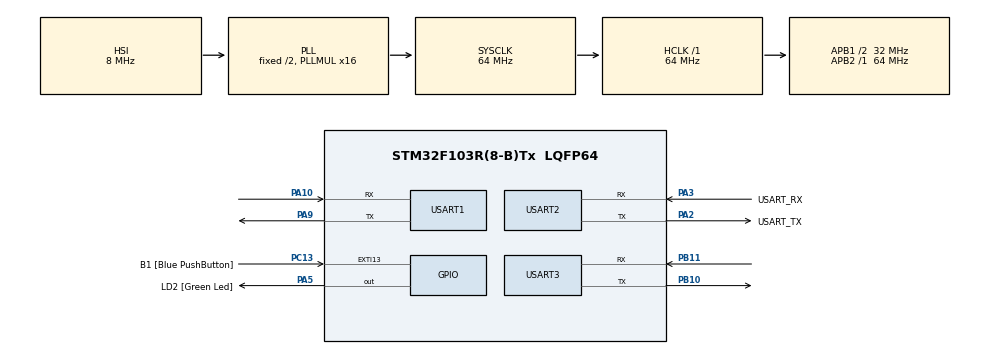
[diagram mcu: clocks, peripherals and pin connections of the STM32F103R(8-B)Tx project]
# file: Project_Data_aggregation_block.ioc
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Dma.Request0=USART1_RX
Dma.Request1=USART2_RX
Dma.USART1_RX.0.Direction=DMA_PERIPH_TO_MEMORY
Dma.USART1_RX.0.Instance=DMA1_Channel5
Dma.USART1_RX.0.MemDataAlignment=DMA_MDATAALIGN_BYTE
Dma.USART1_RX.0.MemInc=DMA_MINC_ENABLE
Dma.USART1_RX.0.Mode=DMA_NORMAL
Dma.USART1_RX.0.PeriphDataAlignment=DMA_PDATAALIGN_BYTE
Dma.USART1_RX.0.PeriphInc=DMA_PINC_DISABLE
Dma.USART1_RX.0.Priority=DMA_PRIORITY_LOW
Dma.USART2_RX.1.Direction=DMA_PERIPH_TO_MEMORY
Dma.USART2_RX.1.Instance=DMA1_Channel6
Dma.USART2_RX.1.MemDataAlignment=DMA_MDATAALIGN_BYTE
Dma.USART2_RX.1.MemInc=DMA_MINC_ENABLE
Dma.USART2_RX.1.Mode=DMA_NORMAL
Dma.USART2_RX.1.PeriphDataAlignment=DMA_PDATAALIGN_BYTE
Dma.USART2_RX.1.PeriphInc=DMA_PINC_DISABLE
Dma.USART2_RX.1.Priority=DMA_PRIORITY_LOW
FREERTOS.Queues01=UARTQueue,10,QUEUE_t,0,Static,UARTQueueBuffer,UARTQueueControlBlock
FREERTOS.Tasks01=defaultTask,24,128,StartDefaultTask,Default,NULL,Dynamic,NULL,NULL;UART1Task,8,128,StartUART1Task,Default,NULL,Static,UART1TaskBuffer,UART1TaskControlBlock;UART2Task,8,128,StartUART2Task,Default,NULL,Static,UART2TaskBuffer,UART2TaskControlBlock;UART3Task,8,128,StartUART3Task,Default,NULL,Static,UART3TaskBuffer,UART3TaskControlBlock
FREERTOS.configTOTAL_HEAP_SIZE=4096
Mcu.Family=STM32F1
Mcu.Name=STM32F103R(8-B)Tx
Mcu.Package=LQFP64
NVIC.DMA1_Channel5_IRQn=true\:5\:0\:false\:false\:true\:true\:false\:true\:true
NVIC.DMA1_Channel6_IRQn=true\:5\:0\:false\:false\:true\:true\:false\:true\:true
NVIC.EXTI15_10_IRQn=true\:5\:0\:false\:false\:true\:true\:true\:true\:true
NVIC.PriorityGroup=NVIC_PRIORITYGROUP_4
NVIC.TIM4_IRQn=true\:15\:0\:false\:false\:true\:false\:false\:true\:true
NVIC.TimeBase=TIM4_IRQn
NVIC.TimeBaseIP=TIM4
NVIC.USART1_IRQn=true\:5\:0\:false\:false\:true\:true\:true\:true\:true
NVIC.USART2_IRQn=true\:5\:0\:false\:false\:true\:true\:true\:true\:true
NVIC.USART3_IRQn=true\:5\:0\:true\:false\:true\:true\:true\:true\:true
PA10.Mode=Asynchronous
PA10.Signal=USART1_RX
PA13.GPIO_Label=TMS
PA13.Mode=Serial_Wire
PA13.Signal=SYS_JTMS-SWDIO
PA14.GPIO_Label=TCK
PA14.Mode=Serial_Wire
PA14.Signal=SYS_JTCK-SWCLK
PA2.GPIO_Label=USART_TX
PA2.GPIO_Mode=GPIO_MODE_AF_PP
PA2.GPIO_PuPd=GPIO_NOPULL
PA2.GPIO_Speed=GPIO_SPEED_FREQ_LOW
PA2.Mode=Asynchronous
PA2.Signal=USART2_TX
PA3.GPIO_Label=USART_RX
PA3.GPIO_Mode=GPIO_MODE_AF_PP
PA3.GPIO_PuPd=GPIO_NOPULL
PA3.GPIO_Speed=GPIO_SPEED_FREQ_LOW
PA3.Mode=Asynchronous
PA3.Signal=USART2_RX
PA5.GPIO_Label=LD2 [Green Led]
PA5.GPIO_ModeDefaultOutputPP=GPIO_MODE_OUTPUT_PP
PA5.GPIO_PuPd=GPIO_NOPULL
PA5.GPIO_Speed=GPIO_SPEED_FREQ_LOW
PA5.Signal=GPIO_Output
PA9.Mode=Asynchronous
PA9.Signal=USART1_TX
PB10.Mode=Asynchronous
PB10.Signal=USART3_TX
PB11.Mode=Asynchronous
PB11.Signal=USART3_RX
PB3.GPIO_Label=SWO
PB3.Signal=SYS_JTDO-TRACESWO
PC13-TAMPER-RTC.GPIO_Label=B1 [Blue PushButton]
PC13-TAMPER-RTC.GPIO_PuPd=GPIO_NOPULL
PC13-TAMPER-RTC.Signal=GPXTI13
PC14-OSC32_IN.Mode=LSE-External-Oscillator
PC14-OSC32_IN.Signal=RCC_OSC32_IN
PC15-OSC32_OUT.Mode=LSE-External-Oscillator
PC15-OSC32_OUT.Signal=RCC_OSC32_OUT
PD0-OSC_IN.Mode=HSE-External-Clock-Source
PD0-OSC_IN.Signal=RCC_OSC_IN
PD1-OSC_OUT.Mode=HSE-External-Clock-Source
PD1-OSC_OUT.Signal=RCC_OSC_OUT
ProjectManager.HeapSize=0x200
ProjectManager.StackSize=0x400
ProjectManager.TargetToolchain=STM32CubeIDE
RCC.AHBFreq_Value=64000000
RCC.APB1CLKDivider=RCC_HCLK_DIV2
RCC.APB1Freq_Value=32000000
RCC.APB1TimFreq_Value=64000000
RCC.APB2Freq_Value=64000000
RCC.APB2TimFreq_Value=64000000
RCC.HCLKFreq_Value=64000000
RCC.PLLMUL=RCC_PLL_MUL16
RCC.RTCClockSelection=RCC_RTCCLKSOURCE_LSE
RCC.SYSCLKFreq_VALUE=64000000
RCC.SYSCLKSource=RCC_SYSCLKSOURCE_PLLCLK
RCC.USBFreq_Value=64000000
USART1.VirtualMode=VM_ASYNC
USART2.VirtualMode=VM_ASYNC
USART3.VirtualMode=VM_ASYNC
VP_FREERTOS_VS_CMSIS_V2.Mode=CMSIS_V2
VP_SYS_VS_tim4.Mode=TIM4
board=NUCLEO-F103RB

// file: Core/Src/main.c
/* USER CODE BEGIN Header */
/**
  ******************************************************************************
  * @file           : main.c
  * @brief          : Main program body
  ******************************************************************************
  * @attention
  *
  * Copyright (c) 2025 STMicroelectronics.
  * All rights reserved.
  *
  * This software is licensed under terms that can be found in the LICENSE file
  * in the root directory of this software component.
  * If no LICENSE file comes with this software, it is provided AS-IS.
  *
  ******************************************************************************
  */
/* USER CODE END Header */
#include "main.h"
#include "cmsis_os.h"
#include "dma.h"
#include "usart.h"
#include "gpio.h"

/* USER CODE BEGIN Includes */
#include "fifo.h"
#include "mavlink.h"
#include "common/mavlink.h"
/* USER CODE END Includes */

void SystemClock_Config(void);
void MX_FREERTOS_Init(void);

/* USER CODE BEGIN 0 */
uint8_t uart1_dma_buf[UART1_DMA_BUF_SIZE];
fifo_t uart1_fifo;
uint8_t uart2_dma_buf[UART2_DMA_BUF_SIZE];
fifo_t uart2_fifo;

/* USER CODE END 0 */

int main(void)
{

  /* MCU Configuration--------------------------------------------------------*/

  /* Reset of all peripherals, Initializes the Flash interface and the Systick. */
  HAL_Init();

  /* Configure the system clock */
  SystemClock_Config();

  /* USER CODE BEGIN SysInit */
  HAL_NVIC_SetPriorityGrouping(NVIC_PRIORITYGROUP_4);

  /* USER CODE END SysInit */

  /* Initialize all configured peripherals */
  MX_GPIO_Init();
  MX_DMA_Init();
  MX_USART1_UART_Init();
  MX_USART2_UART_Init();
  MX_USART3_UART_Init();
  /* USER CODE BEGIN 2 */
  fifo_init(&uart1_fifo);
  HAL_UART_Receive_DMA(&huart1, uart1_dma_buf, UART1_DMA_BUF_SIZE);
  fifo_init(&uart2_fifo);
  HAL_UART_Receive_DMA(&huart2, uart2_dma_buf, UART1_DMA_BUF_SIZE);
  /* USER CODE END 2 */

  /* Init scheduler */
  osKernelInitialize();  /* Call init function for freertos objects (in freertos.c) */
  MX_FREERTOS_Init();

  /* Start scheduler */
  osKernelStart();

  /* We should never get here as control is now taken by the scheduler */
  /* Infinite loop */
  while (1)
  {

  }
}

void SystemClock_Config(void)
{
  RCC_OscInitTypeDef RCC_OscInitStruct = {0};
  RCC_ClkInitTypeDef RCC_ClkInitStruct = {0};

  /** Initializes the RCC Oscillators according to the specified parameters
  * in the RCC_OscInitTypeDef structure.
  */
  RCC_OscInitStruct.OscillatorType = RCC_OSCILLATORTYPE_HSI;
  RCC_OscInitStruct.HSIState = RCC_HSI_ON;
  RCC_OscInitStruct.HSICalibrationValue = RCC_HSICALIBRATION_DEFAULT;
  RCC_OscInitStruct.PLL.PLLState = RCC_PLL_ON;
  RCC_OscInitStruct.PLL.PLLSource = RCC_PLLSOURCE_HSI_DIV2;
  RCC_OscInitStruct.PLL.PLLMUL = RCC_PLL_MUL16;
  if (HAL_RCC_OscConfig(&RCC_OscInitStruct) != HAL_OK)
  {
    Error_Handler();
  }

  /** Initializes the CPU, AHB and APB buses clocks
  */
  RCC_ClkInitStruct.ClockType = RCC_CLOCKTYPE_HCLK|RCC_CLOCKTYPE_SYSCLK
                              |RCC_CLOCKTYPE_PCLK1|RCC_CLOCKTYPE_PCLK2;
  RCC_ClkInitStruct.SYSCLKSource = RCC_SYSCLKSOURCE_PLLCLK;
  RCC_ClkInitStruct.AHBCLKDivider = RCC_SYSCLK_DIV1;
  RCC_ClkInitStruct.APB1CLKDivider = RCC_HCLK_DIV2;
  RCC_ClkInitStruct.APB2CLKDivider = RCC_HCLK_DIV1;

  if (HAL_RCC_ClockConfig(&RCC_ClkInitStruct, FLASH_LATENCY_2) != HAL_OK)
  {
    Error_Handler();
  }
}

void HAL_TIM_PeriodElapsedCallback(TIM_HandleTypeDef *htim)
{
  if (htim->Instance == TIM4) {
    HAL_IncTick();
  }
}

void Error_Handler(void)
{
  __disable_irq();
  while (1)
  {
  }
}

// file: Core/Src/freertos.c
/* USER CODE BEGIN Header */
/**
  ******************************************************************************
  * File Name          : freertos.c
  * Description        : Code for freertos applications
  ******************************************************************************
  * @attention
  *
  * Copyright (c) 2025 STMicroelectronics.
  * All rights reserved.
  *
  * This software is licensed under terms that can be found in the LICENSE file
  * in the root directory of this software component.
  * If no LICENSE file comes with this software, it is provided AS-IS.
  *
  ******************************************************************************
  */
/* USER CODE END Header */

#include "FreeRTOS.h"
#include "task.h"
#include "main.h"
#include "cmsis_os.h"

/* USER CODE BEGIN Includes */
#include <string.h>
#include <stdio.h>
#include "usart.h"
#include "fifo.h"
#include "mavlink.h"
#include "common/mavlink.h"   // hoặc dialect tương ứng
extern osMessageQueueId_t UARTQueueHandle;
extern fifo_t uart1_fifo;
extern fifo_t uart2_fifo;
extern UART_HandleTypeDef huart3;

/* USER CODE END Includes */

typedef StaticTask_t osStaticThreadDef_t;
typedef StaticQueue_t osStaticMessageQDef_t;

/* Definitions for defaultTask */
osThreadId_t defaultTaskHandle;
const osThreadAttr_t defaultTask_attributes = {
  .name = "defaultTask",
  .stack_size = 128 * 4,
  .priority = (osPriority_t) osPriorityNormal,
};
/* Definitions for UART1Task */
osThreadId_t UART1TaskHandle;
uint32_t UART1TaskBuffer[ 128 ];
osStaticThreadDef_t UART1TaskControlBlock;
const osThreadAttr_t UART1Task_attributes = {
  .name = "UART1Task",
  .cb_mem = &UART1TaskControlBlock,
  .cb_size = sizeof(UART1TaskControlBlock),
  .stack_mem = &UART1TaskBuffer[0],
  .stack_size = sizeof(UART1TaskBuffer),
  .priority = (osPriority_t) osPriorityLow,
};
/* Definitions for UART2Task */
osThreadId_t UART2TaskHandle;
uint32_t UART2TaskBuffer[ 128 ];
osStaticThreadDef_t UART2TaskControlBlock;
const osThreadAttr_t UART2Task_attributes = {
  .name = "UART2Task",
  .cb_mem = &UART2TaskControlBlock,
  .cb_size = sizeof(UART2TaskControlBlock),
  .stack_mem = &UART2TaskBuffer[0],
  .stack_size = sizeof(UART2TaskBuffer),
  .priority = (osPriority_t) osPriorityLow,
};
/* Definitions for UART3Task */
osThreadId_t UART3TaskHandle;
uint32_t UART3TaskBuffer[ 128 ];
osStaticThreadDef_t UART3TaskControlBlock;
const osThreadAttr_t UART3Task_attributes = {
  .name = "UART3Task",
  .cb_mem = &UART3TaskControlBlock,
  .cb_size = sizeof(UART3TaskControlBlock),
  .stack_mem = &UART3TaskBuffer[0],
  .stack_size = sizeof(UART3TaskBuffer),
  .priority = (osPriority_t) osPriorityLow,
};
/* Definitions for UARTQueue */
osMessageQueueId_t UARTQueueHandle;
uint8_t UARTQueueBuffer[ 10 * sizeof( QUEUE_t ) ];
osStaticMessageQDef_t UARTQueueControlBlock;
const osMessageQueueAttr_t UARTQueue_attributes = {
  .name = "UARTQueue",
  .cb_mem = &UARTQueueControlBlock,
  .cb_size = sizeof(UARTQueueControlBlock),
  .mq_mem = &UARTQueueBuffer,
  .mq_size = sizeof(UARTQueueBuffer)
};

void StartDefaultTask(void *argument);
void StartUART1Task(void *argument);
void StartUART2Task(void *argument);
void StartUART3Task(void *argument);

void MX_FREERTOS_Init(void); /* (MISRA C 2004 rule 8.1) */

void MX_FREERTOS_Init(void) {

  /* Create the queue(s) */
  /* creation of UARTQueue */
  UARTQueueHandle = osMessageQueueNew (10, sizeof(QUEUE_t), &UARTQueue_attributes);

  /* Create the thread(s) */
  /* creation of defaultTask */
  defaultTaskHandle = osThreadNew(StartDefaultTask, NULL, &defaultTask_attributes);

//  /* creation of UART1Task */
  UART1TaskHandle = osThreadNew(StartUART1Task, NULL, &UART1Task_attributes);
  if (UART1TaskHandle == NULL) Error_Handler();
//
//  /* creation of UART2Task */
  UART2TaskHandle = osThreadNew(StartUART2Task, NULL, &UART2Task_attributes);
  if (UART2TaskHandle == NULL) Error_Handler();
//
//  /* creation of UART3Task */
  UART3TaskHandle = osThreadNew(StartUART3Task, NULL, &UART3Task_attributes);
  if (UART3TaskHandle == NULL) Error_Handler();
//

}

void StartDefaultTask(void *argument)
{
  for(;;)
  {
    osDelay(1);
  }
}

void StartUART1Task(void *argument)
{
  /* USER CODE BEGIN StartUART1Task */
	mavlink_message_t msg;
	mavlink_status_t status;
	uint8_t c;
	QUEUE_t q_msg;

  /* Infinite loop */
  for(;;)
  {
	  // Đợi tín hiệu từ ISR DMA (đã push dữ liệu vào FIFO)
	  ulTaskNotifyTake(pdTRUE, portMAX_DELAY);

	    // Xử lý FIFO
	    while (!fifo_is_empty(&uart1_fifo)) {
	      fifo_pop(&uart1_fifo, &c);

	      // Parse MAVLink từng byte
	      if (mavlink_parse_char(MAVLINK_COMM_0, c, &msg, &status)) {
	        // Gửi bản tin vào queue nếu hợp lệ
	        q_msg.msg = msg;
	        q_msg.src = 1; // UART1

	        osMessageQueuePut(UARTQueueHandle, &q_msg, 0, 0);
	      }
	    }
  }
  /* USER CODE END StartUART1Task */
}

void StartUART2Task(void *argument)
{
  /* USER CODE BEGIN StartUART2Task */
	  mavlink_message_t msg;
	  mavlink_status_t status;
	  uint8_t c;
	  QUEUE_t q_msg;

  /* Infinite loop */
  for(;;)
  {
	    ulTaskNotifyTake(pdTRUE, portMAX_DELAY);

	    while (!fifo_is_empty(&uart2_fifo)) {
	      fifo_pop(&uart2_fifo, &c);

	      if (mavlink_parse_char(MAVLINK_COMM_1, c, &msg, &status)) {
	        q_msg.msg = msg;
	        q_msg.src = 2; // UART2

	        osMessageQueuePut(UARTQueueHandle, &q_msg, 0, 0);
	      }
	    }
  }
  /* USER CODE END StartUART2Task */
}

void StartUART3Task(void *argument)
{
  /* USER CODE BEGIN StartUART3Task */
	  QUEUE_t q_msg;
	  uint8_t tx_buf[MAVLINK_MAX_PACKET_LEN];
	  uint16_t len;
	  for(;;)
	  {
	    // Chờ có message từ queue
	    if (osMessageQueueGet(UARTQueueHandle, &q_msg, 0, osWaitForever) == osOK)
	    {
	      // Chuyển message → buffer byte
	      len = mavlink_msg_to_send_buffer(tx_buf, &q_msg.msg);

	      // Gửi ra UART3
	      HAL_UART_Transmit(&huart3, tx_buf, len, HAL_MAX_DELAY);
	    }
	  }
  /* USER CODE END StartUART3Task */
}
